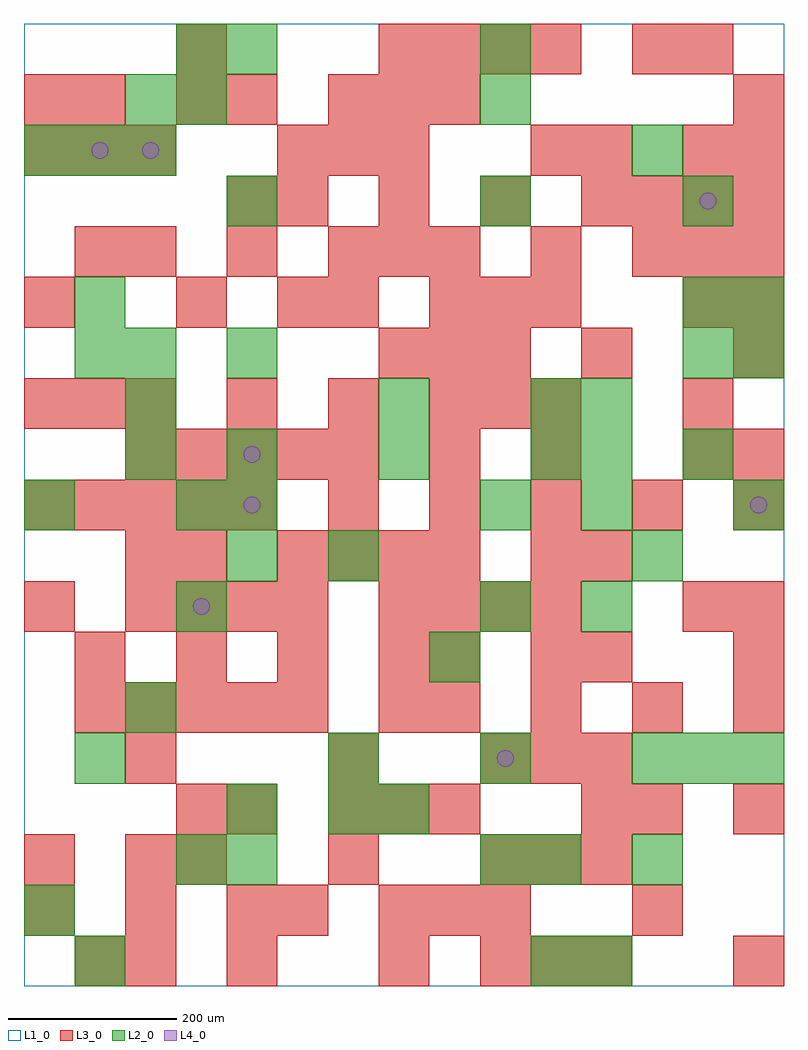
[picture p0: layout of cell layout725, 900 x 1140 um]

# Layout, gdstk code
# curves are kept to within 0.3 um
import gdstk
lib = gdstk.Library(unit=1e-6, precision=1e-09)
def R(c, l, rs):  # rectangles x0, y0, x1, y1
    for r in rs: c.add(gdstk.rectangle(r[:2], r[2:], *l))
def A(c, l, x, y, w, h, nx, ny, dx, dy):  # array of equal rectangles
    R(c, l, [(x+i*dx, y+j*dy, x+i*dx+w, y+j*dy+h) for i in range(nx) for j in range(ny)])
def P(c, l, *ps):  # polygons
    for p in ps: c.add(gdstk.Polygon(p, *l))
L1_0 = (1, 0)
L2_0 = (2, 0)
L3_0 = (3, 0)
L4_0 = (4, 0)

layout725 = lib.new_cell('layout725')
R(layout725, L1_0, [(0,0,900,1140)])
A(layout725, L2_0, 360, 240, 60, 60, 3, 1, 180, 0)
A(layout725, L2_0, 240, 540, 60, 60, 1, 4, 0, 180)
A(layout725, L2_0, 660, 540, 60, 60, 1, 3, 0, 60)
A(layout725, L2_0, 120, 600, 60, 60, 1, 3, 0, 60)
A(layout725, L2_0, 240, 600, 60, 60, 3, 1, 180, 0)
A(layout725, L2_0, 0, 960, 60, 60, 3, 1, 60, 0)
R(layout725, L2_0, [(60,0,120,60), (600,0,660,60), (660,0,720,60), (0,60,60,120), (180,120,240,180), (240,120,300,180), (540,120,600,180), (600,120,660,180), (720,120,780,180), (240,180,300,240), (360,180,420,240), (420,180,480,240), (60,240,120,300), (780,240,840,300), (840,240,900,300), (120,300,180,360), (480,360,540,420), (180,420,240,480), (540,420,600,480), (660,420,720,480), (240,480,300,540), (360,480,420,540), (720,480,780,540), (0,540,60,600), (180,540,240,600), (540,540,600,600), (840,540,900,600), (780,600,840,660), (420,660,480,720), (600,660,660,720), (60,720,120,780), (780,720,840,780), (840,720,900,780), (60,780,120,840), (780,780,840,840), (840,780,900,840), (540,900,600,960), (780,900,840,960), (720,960,780,1020), (120,1020,180,1080), (180,1020,240,1080), (540,1020,600,1080), (180,1080,240,1140), (540,1080,600,1140)])
A(layout725, L3_0, 120, 0, 60, 60, 1, 3, 0, 120)
A(layout725, L3_0, 540, 0, 60, 60, 3, 2, 60, 240)
A(layout725, L3_0, 840, 0, 60, 60, 1, 3, 0, 180)
A(layout725, L3_0, 0, 60, 60, 60, 3, 1, 120, 0)
A(layout725, L3_0, 420, 60, 60, 60, 3, 2, 60, 660)
A(layout725, L3_0, 180, 120, 60, 60, 3, 1, 180, 0)
A(layout725, L3_0, 180, 180, 60, 60, 1, 3, 0, 300)
A(layout725, L3_0, 360, 180, 60, 60, 3, 2, 60, 840)
A(layout725, L3_0, 60, 300, 60, 60, 5, 1, 60, 0)
A(layout725, L3_0, 480, 300, 60, 60, 4, 1, 120, 0)
A(layout725, L3_0, 60, 360, 60, 60, 4, 1, 120, 0)
A(layout725, L3_0, 600, 360, 60, 60, 1, 3, 0, 120)
A(layout725, L3_0, 120, 420, 60, 60, 4, 1, 60, 0)
A(layout725, L3_0, 420, 420, 60, 60, 4, 2, 60, 660)
A(layout725, L3_0, 300, 480, 60, 60, 4, 1, 60, 0)
A(layout725, L3_0, 660, 480, 60, 60, 1, 3, 0, 240)
A(layout725, L3_0, 0, 540, 60, 60, 5, 1, 60, 0)
A(layout725, L3_0, 360, 540, 60, 60, 5, 1, 120, 0)
A(layout725, L3_0, 120, 600, 60, 60, 5, 1, 60, 0)
A(layout725, L3_0, 0, 660, 60, 60, 3, 2, 60, 300)
A(layout725, L3_0, 240, 660, 60, 60, 3, 1, 120, 0)
A(layout725, L3_0, 840, 720, 60, 60, 1, 3, 0, 60)
A(layout725, L3_0, 480, 780, 60, 60, 3, 1, 60, 0)
A(layout725, L3_0, 120, 840, 60, 60, 3, 1, 120, 0)
A(layout725, L3_0, 480, 840, 60, 60, 3, 1, 120, 0)
A(layout725, L3_0, 780, 840, 60, 60, 1, 3, 0, 120)
A(layout725, L3_0, 300, 900, 60, 60, 4, 1, 120, 0)
A(layout725, L3_0, 720, 900, 60, 60, 3, 1, 60, 0)
A(layout725, L3_0, 300, 960, 60, 60, 3, 1, 60, 0)
R(layout725, L3_0, [(60,0,120,60), (240,0,300,60), (420,0,480,60), (300,60,360,120), (720,60,780,120), (0,120,60,180), (600,120,660,180), (660,120,720,180), (240,180,300,240), (660,180,720,240), (720,180,780,240), (360,240,420,300), (420,300,480,360), (480,360,540,420), (660,360,720,420), (0,420,60,480), (780,420,840,480), (840,420,900,480), (120,480,180,540), (480,600,540,660), (780,600,840,660), (840,600,900,660), (540,660,600,720), (600,660,660,720), (780,660,840,720), (0,780,60,840), (300,780,360,840), (360,780,420,840), (780,780,840,840), (60,840,120,900), (420,840,480,900), (240,900,300,960), (600,960,660,1020), (840,960,900,1020), (0,1020,60,1080), (60,1020,120,1080), (180,1020,240,1080), (240,1020,300,1080), (840,1020,900,1080), (180,1080,240,1140), (720,1080,780,1140)])
P(layout725, L4_0, [(100,990),(99.239,993.827),(97.071,997.071),(93.827,999.239),(90,1000),(86.173,999.239),(82.929,997.071),(80.761,993.827),(80,990),(80.761,986.173),(82.929,982.929),(86.173,980.761),(90,980),(93.827,980.761),(97.071,982.929),(99.239,986.173)],
  [(160,990),(159.239,993.827),(157.071,997.071),(153.827,999.239),(150,1000),(146.173,999.239),(142.929,997.071),(140.761,993.827),(140,990),(140.761,986.173),(142.929,982.929),(146.173,980.761),(150,980),(153.827,980.761),(157.071,982.929),(159.239,986.173)],
  [(220,450),(219.239,453.827),(217.071,457.071),(213.827,459.239),(210,460),(206.173,459.239),(202.929,457.071),(200.761,453.827),(200,450),(200.761,446.173),(202.929,442.929),(206.173,440.761),(210,440),(213.827,440.761),(217.071,442.929),(219.239,446.173)],
  [(280,570),(279.239,573.827),(277.071,577.071),(273.827,579.239),(270,580),(266.173,579.239),(262.929,577.071),(260.761,573.827),(260,570),(260.761,566.173),(262.929,562.929),(266.173,560.761),(270,560),(273.827,560.761),(277.071,562.929),(279.239,566.173)],
  [(280,630),(279.239,633.827),(277.071,637.071),(273.827,639.239),(270,640),(266.173,639.239),(262.929,637.071),(260.761,633.827),(260,630),(260.761,626.173),(262.929,622.929),(266.173,620.761),(270,620),(273.827,620.761),(277.071,622.929),(279.239,626.173)],
  [(580,270),(579.239,273.827),(577.071,277.071),(573.827,279.239),(570,280),(566.173,279.239),(562.929,277.071),(560.761,273.827),(560,270),(560.761,266.173),(562.929,262.929),(566.173,260.761),(570,260),(573.827,260.761),(577.071,262.929),(579.239,266.173)],
  [(820,930),(819.239,933.827),(817.071,937.071),(813.827,939.239),(810,940),(806.173,939.239),(802.929,937.071),(800.761,933.827),(800,930),(800.761,926.173),(802.929,922.929),(806.173,920.761),(810,920),(813.827,920.761),(817.071,922.929),(819.239,926.173)],
  [(880,570),(879.239,573.827),(877.071,577.071),(873.827,579.239),(870,580),(866.173,579.239),(862.929,577.071),(860.761,573.827),(860,570),(860.761,566.173),(862.929,562.929),(866.173,560.761),(870,560),(873.827,560.761),(877.071,562.929),(879.239,566.173)])

lib.write_gds('layout725.gds')
